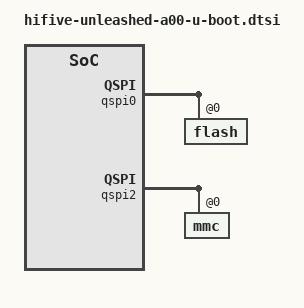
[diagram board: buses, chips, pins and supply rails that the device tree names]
// SPDX-License-Identifier: (GPL-2.0 OR MIT)
/*
 * Copyright (C) 2019 SiFive, Inc
 */

#include "fu540-c000-u-boot.dtsi"
#include "fu540-hifive-unleashed-a00-sdram-ddr4.dtsi"

/ {
	aliases {
		spi0 = &qspi0;
		spi2 = &qspi2;
	};

	config {
		u-boot,spl-payload-offset = <0x105000>; /* @ 1044KB */
	};

	hfclk {
		u-boot,dm-spl;
	};

	rtcclk {
		u-boot,dm-spl;
	};
};

&qspi0 {
	u-boot,dm-spl;

	flash@0 {
		u-boot,dm-spl;
	};
};

&qspi2 {
	mmc@0 {
		u-boot,dm-spl;
	};
};

&gpio {
	u-boot,dm-spl;
};
